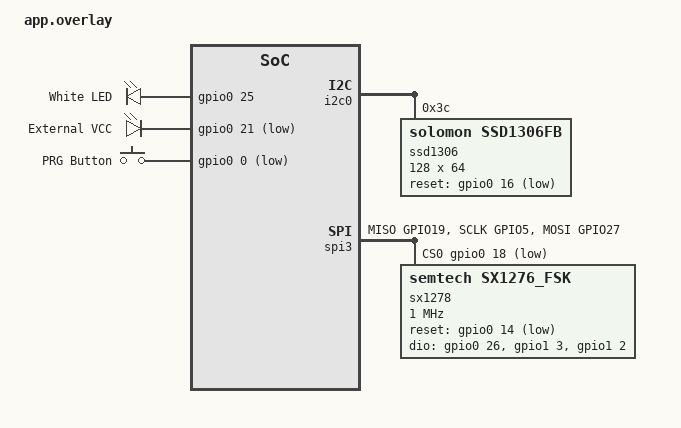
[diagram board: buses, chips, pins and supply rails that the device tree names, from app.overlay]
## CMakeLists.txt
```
cmake_minimum_required(VERSION 3.22)
set(BOARD nrf52832_mdk)

find_package(Zephyr)
project(zephyr_pocsag)

target_sources(app PRIVATE src/main.c)

add_subdirectory(drivers)
```

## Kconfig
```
menu "ESP32 Pocsag Firmware"
rsource "drivers/Kconfig"
endmenu

menu "Zephyr Kernel"
source "Kconfig.zephyr"
endmenu

module = APPLICATION_MODULE
module-str = Application module
source "subsys/logging/Kconfig.template.log_config"
```

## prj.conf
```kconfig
CONFIG_I2C=y
CONFIG_SPI=y
CONFIG_DISPLAY=y
CONFIG_SSD1306=y
# From Zephyr 3.5.0 CONFIG_SSD1306_DEFAULT is no longer used
# CONFIG_SSD1306_DEFAULT=y
CONFIG_SSD1306_DEFAULT_CONTRAST=128
CONFIG_LOG=y
CONFIG_SHELL=y
CONFIG_I2C_SHELL=y
CONFIG_I2C_LOG_LEVEL_DBG=y

CONFIG_LV_Z_MEM_POOL_SIZE=16384
CONFIG_LV_Z_SHELL=y
CONFIG_MAIN_STACK_SIZE=2048

CONFIG_LVGL=y
CONFIG_LV_MEM_CUSTOM=y
CONFIG_LV_USE_LOG=y
CONFIG_LV_USE_LABEL=y
CONFIG_LV_FONT_MONTSERRAT_14=y

CONFIG_LV_USE_THEME_DEFAULT=y
CONFIG_LV_Z_VDB_SIZE=64
CONFIG_LV_COLOR_DEPTH_1=y

CONFIG_RADIO_FSK=y
CONFIG_RADIO_FSK_SX1276=y
```

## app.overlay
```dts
/ {
	chosen {
		zephyr,display = &ssd1306;
	};


	leds {
		compatible = "gpio-leds";
		led0: led {
			gpios = <&gpio0 25 GPIO_ACTIVE_HIGH>;
			label = "White LED";
		};

		vext: vext {
			gpios = <&gpio0 21 (GPIO_PULL_UP | GPIO_ACTIVE_LOW)>;
			label = "External VCC";
		};
	};


	buttons {
		compatible = "gpio-keys";
		button0: button_0 {
			gpios = <&gpio0 0 (GPIO_PULL_UP | GPIO_ACTIVE_LOW)>;
			label = "PRG Button";
			zephyr,code = <INPUT_KEY_0>;
		};
	};

};


&pinctrl {

	i2c0_default: i2c0_default {
		group1 {
			pinmux = <I2C0_SDA_GPIO4>,
				 <I2C0_SCL_GPIO15>;
			bias-pull-up;
			drive-open-drain;
			output-high;
		};
	};
	
	spim3_default: spim3_default {
		group1 {
			pinmux = <SPIM3_MISO_GPIO19>,
				 <SPIM3_SCLK_GPIO5>;
		};
		group2 {
			pinmux = <SPIM3_MOSI_GPIO27>;
			output-low;
		};
	};
};


&i2c0 {
	
	status = "okay";
	
      ssd1306: ssd1306@3c {
      	       compatible = "solomon,ssd1306fb";
	       reg = <0x3c>;
	       height = <64>;
	       width = <128>;
	       segment-offset = <0>;
	       page-offset = <0>;
	       display-offset = <0>;
	       multiplex-ratio = <63>;
	       prechargep = <0x22>;
	       com-invdir;
	       segment-remap;
	       reset-gpios = <&gpio0 16 ( GPIO_ACTIVE_LOW  )>;
      };
};

&spi3 {
	#address-cells = <1>;
	#size-cells = <0>;
	status = "okay";
	pinctrl-0 = <&spim3_default>;
	pinctrl-names = "default";
	status = "okay";
	cs-gpios = <&gpio0 18 GPIO_ACTIVE_LOW>;
	
	sx1276: sx1276_fsk@0 {
                compatible = "semtech,sx1276_fsk";
                reg = <0>;
                spi-max-frequency = <1000000>;
                label = "sx1278";
				reset-gpios = <&gpio0 14 GPIO_ACTIVE_LOW>;
				dio-gpios =
					/* SX1276 D0 -> GPIO26 */
					<&gpio0 26 (GPIO_PULL_DOWN | GPIO_ACTIVE_HIGH)>,
					/* SX1276 D1 -> GPIO35 */
					<&gpio1 3 (GPIO_PULL_DOWN | GPIO_ACTIVE_HIGH)>,
					/* SX1276 D2 -> GPIO34 */
					<&gpio1 2 (GPIO_PULL_DOWN | GPIO_ACTIVE_HIGH)>;
        };
};
```

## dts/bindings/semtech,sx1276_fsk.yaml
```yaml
# Copyright (c) 2021, Ilya Tagunov
# SPDX-License-Identifier: Apache-2.0

description: Semtech SX1276 LoRa Modem

compatible: "semtech,sx1276_fsk"

include: semtech,sx127x-base.yaml
```

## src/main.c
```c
#include <stdint.h>
#include <zephyr/device.h>
#include <zephyr/kernel.h>
#include <zephyr/drivers/display.h>
#include <zephyr/logging/log.h>
#include <zephyr/drivers/spi.h>
#include <lvgl.h>
#include <zephyr/drivers/gpio.h>
#include <zephyr/init.h>

#define VEXT_PIN  DT_GPIO_PIN(DT_NODELABEL(vext), gpios)
#define OLED_RST  DT_GPIO_PIN(DT_NODELABEL(oledrst), gpios)

static int board_heltec_wifi_lora32_v2_init(void)
{
	const struct device *gpio;

	gpio = DEVICE_DT_GET(DT_NODELABEL(gpio0));
	if (!device_is_ready(gpio)) {
		return -ENODEV;
	}

	/* turns external VCC on  */
	gpio_pin_configure(gpio, VEXT_PIN, GPIO_OUTPUT);
	gpio_pin_set_raw(gpio, VEXT_PIN, 0);

	return 0;
}

SYS_INIT(board_heltec_wifi_lora32_v2_init, PRE_KERNEL_2, CONFIG_GPIO_INIT_PRIORITY);


#define DISPLAY_BUFFER_PITCH 128

LOG_MODULE_REGISTER(display);

static const struct device *display = DEVICE_DT_GET(DT_NODELABEL(ssd1306));

static uint32_t count;

int main(void)
{
  char count_str[11] = {0};
  lv_obj_t *count_label;
  
  LOG_ERR("Hello World!");

  if (display == NULL) {
    LOG_ERR("device pointer is NULL");
    return -1;
  }

  if (!device_is_ready(display)) {
    LOG_ERR("display device is not ready");
    return -1;
  }

  lv_disp_t * lv_disp = lv_disp_get_default();
  lv_theme_default_init(lv_disp, lv_color_black(), lv_color_white(), 1, &lv_font_montserrat_14);

  const struct spi_dt_spec sx1278_dev =
                SPI_DT_SPEC_GET(DT_NODELABEL(sx1276), 0, 0);
                
  LOG_INF("sx1278_dev.bus = %p", sx1278_dev.bus);
  LOG_INF("sx1278_dev.config.cs.gpio.port = %p", sx1278_dev.config.cs.gpio.port);
  LOG_INF("sx1278_dev.config.cs.gpio.pin = %u", sx1278_dev.config.cs.gpio.pin);

  struct display_capabilities capabilities;
  display_get_capabilities(display, &capabilities);

  const uint16_t x_res = capabilities.x_resolution;
  const uint16_t y_res = capabilities.y_resolution;

  LOG_INF("x_resolution: %d", x_res);
  LOG_INF("y_resolution: %d", y_res);
  LOG_INF("supported pixel formats: %d", capabilities.supported_pixel_formats);
  LOG_INF("screen_info: %d", capabilities.screen_info);
  LOG_INF("current_pixel_format: %d", capabilities.current_pixel_format);
  LOG_INF("current_orientation: %d", capabilities.current_orientation);
	 
  count_label = lv_label_create(lv_scr_act());
	lv_obj_align(count_label, LV_ALIGN_BOTTOM_MID, 0, 0);

	lv_task_handler();
	display_blanking_off(display);

	while (1) {
		if ((count % 100) == 0U) {
			sprintf(count_str, "%d", count/100U);
			lv_label_set_text(count_label, count_str);
		}
		lv_task_handler();
		++count;
		k_sleep(K_MSEC(10));
	}

  return 0; 
}
```
